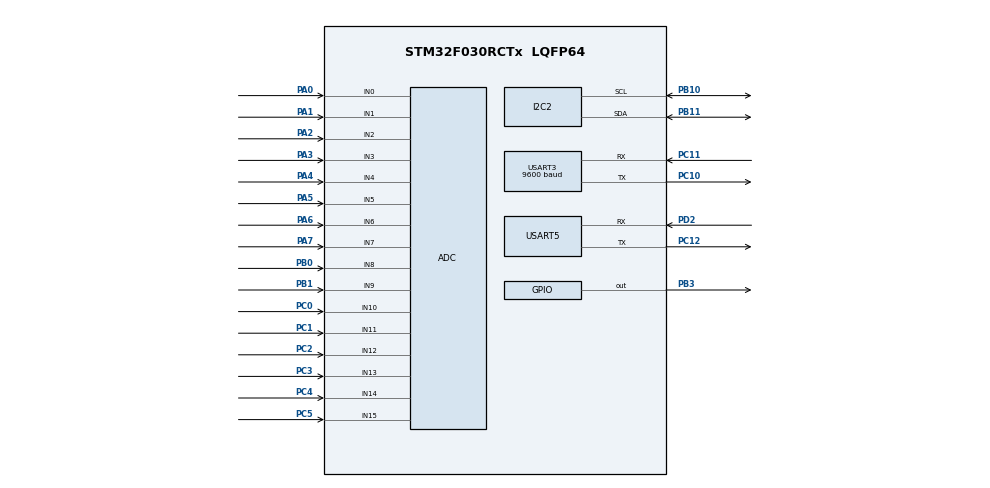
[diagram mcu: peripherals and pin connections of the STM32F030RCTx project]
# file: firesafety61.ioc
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ADC.ContinuousConvMode=ENABLE
ADC.DMAContinuousRequests=DISABLE
ADC.EOCSelection=ADC_EOC_SEQ_CONV
ADC.Overrun=ADC_OVR_DATA_OVERWRITTEN
Dma.ADC.0.Direction=DMA_PERIPH_TO_MEMORY
Dma.ADC.0.Instance=DMA1_Channel1
Dma.ADC.0.MemDataAlignment=DMA_MDATAALIGN_HALFWORD
Dma.ADC.0.MemInc=DMA_MINC_ENABLE
Dma.ADC.0.Mode=DMA_CIRCULAR
Dma.ADC.0.PeriphDataAlignment=DMA_PDATAALIGN_HALFWORD
Dma.ADC.0.PeriphInc=DMA_PINC_DISABLE
Dma.ADC.0.Priority=DMA_PRIORITY_LOW
Dma.Request0=ADC
Mcu.Family=STM32F0
Mcu.Name=STM32F030RCTx
Mcu.Package=LQFP64
NVIC.ADC1_IRQn=true\:0\:0\:false\:false\:true\:true\:true\:true
NVIC.DMA1_Channel1_IRQn=true\:0\:0\:false\:false\:true\:false\:true\:true
NVIC.TIM15_IRQn=true\:0\:0\:false\:false\:true\:true\:true\:true
NVIC.TIM6_IRQn=true\:0\:0\:false\:false\:true\:true\:true\:true
NVIC.USART3_6_IRQn=true\:0\:0\:false\:false\:true\:true\:true\:true
PA0.Mode=IN0
PA0.Signal=ADC_IN0
PA1.Mode=IN1
PA1.Signal=ADC_IN1
PA2.Mode=IN2
PA2.Signal=ADC_IN2
PA3.Mode=IN3
PA3.Signal=ADC_IN3
PA4.Mode=IN4
PA4.Signal=ADC_IN4
PA5.Mode=IN5
PA5.Signal=ADC_IN5
PA6.Mode=IN6
PA6.Signal=ADC_IN6
PA7.Mode=IN7
PA7.Signal=ADC_IN7
PB0.Mode=IN8
PB0.Signal=ADC_IN8
PB1.Mode=IN9
PB1.Signal=ADC_IN9
PB10.Mode=I2C
PB10.Signal=I2C2_SCL
PB11.Mode=I2C
PB11.Signal=I2C2_SDA
PB3.Signal=GPIO_Output
PC0.Mode=IN10
PC0.Signal=ADC_IN10
PC1.Mode=IN11
PC1.Signal=ADC_IN11
PC10.Mode=Asynchronous
PC10.Signal=USART3_TX
PC11.Mode=Asynchronous
PC11.Signal=USART3_RX
PC12.Mode=Asynchronous
PC12.Signal=USART5_TX
PC2.Mode=IN12
PC2.Signal=ADC_IN12
PC3.Mode=IN13
PC3.Signal=ADC_IN13
PC4.Mode=IN14
PC4.Signal=ADC_IN14
PC5.Mode=IN15
PC5.Signal=ADC_IN15
PD2.Mode=Asynchronous
PD2.Signal=USART5_RX
ProjectManager.HeapSize=0x200
ProjectManager.StackSize=0x400
ProjectManager.TargetToolchain=STM32CubeIDE
USART3.BaudRate=9600
USART3.VirtualMode-Asynchronous=VM_ASYNC
USART5.VirtualMode-Asynchronous=VM_ASYNC
VP_TIM15_VS_ClockSourceINT.Mode=Internal
VP_TIM6_VS_ClockSourceINT.Mode=Enable_Timer
board=custom

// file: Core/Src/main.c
/* USER CODE BEGIN Header */
/**
  ******************************************************************************
  * @file           : main.c
  * @brief          : Main program body
  ******************************************************************************
  * @attention
  *
  * Copyright (c) 2025 STMicroelectronics.
  * All rights reserved.
  *
  * This software is licensed under terms that can be found in the LICENSE file
  * in the root directory of this software component.
  * If no LICENSE file comes with this software, it is provided AS-IS.
  *
  ******************************************************************************
  */
/* USER CODE END Header */
#include "main.h"
#include "gsm.h"
#include "adc.h"
#include <stdio.h>
#include <string.h>
#include <stdlib.h>
#include<stdbool.h>
#include <math.h>
#include "EEPROM_LIB.h"

/* USER CODE BEGIN PTD */
volatile uint8_t save_calib_flag = 0;

Calibration_t calib;
SystemConfig_t systemConfig;

uint8_t cali_mode = 0;      // 0 = normal, 1 = calibration
char cali_type[8] = {0};    // store command type: "VR","VY","VB","IR","IY","IB"

volatile uint8_t average_ready = 0; // Flag when 40 samples are complete

float adc_AI_f[16] = {0.0};
float adc_f = 9.2;
float current_diff =0;
uint8_t imeireceived = 0;

volatile uint8_t refresh_rate_locked = 0;  // Flag to prevent premature switching back
volatile uint8_t fast_cycle_completed = 0; // Flag to track if fast cycle completed
/* USER CODE END PTD */

ADC_HandleTypeDef hadc;
DMA_HandleTypeDef hdma_adc;

I2C_HandleTypeDef hi2c2;

TIM_HandleTypeDef htim6;
TIM_HandleTypeDef htim15;

UART_HandleTypeDef huart3;
UART_HandleTypeDef huart5;

/* USER CODE BEGIN PV */

volatile uint8_t calib_value_pending = 0;
float pending_calib_value = 0.0;
char pending_calib_type[8] = {0};

uint16_t adc_values[16];

volatile uint8_t send_json_flag = 0;
volatile uint16_t timer_counter = 0;  ////CHANGED ON 25/09/2025

int imei_fetched = 0;
int strength = -1;

uint16_t delay = 300;
char uart_buf[64];

char imei[64];
char sms_msg[256];
char sms_buffer[512];
char gsm_time[32] = {0};
char json_string[1024];
uint8_t i;
int gsm_battery_voltage = -1;
int gsm_input_voltage = -1; // From external device

volatile uint8_t adc_read_flag = 0;
volatile uint8_t rms_calc_flag = 0;

uint16_t adc_values_all[16];  // All channels A0-A13

// RMS calculation arrays - store 40 samples (20ms worth)

uint16_t sample_index = 0;
float individual_rms[NUM_SLOW_CHANNELS] = {0};

//static uint16_t rms_counter = 0;

// Add variables for threshold-based refresh rate control
volatile uint8_t current_refresh_rate = 0;  // 0 = refreshTime1, 1 = refreshTime2
volatile uint8_t threshold_exceeded = 0;
volatile uint8_t sms_counter = 0;
volatile uint8_t check_A0_A9_flag = 0;

uint8_t exceeded = 0;
uint8_t exceeded1 = 0;
/* USER CODE END PV */

void SystemClock_Config(void);
static void MX_GPIO_Init(void);
static void MX_DMA_Init(void);
static void MX_ADC_Init(void);
static void MX_I2C2_Init(void);
static void MX_TIM6_Init(void);
static void MX_TIM15_Init(void);
static void MX_USART5_UART_Init(void);
static void MX_USART3_UART_Init(void);
void Parse_And_Store_Calibration(const char *cmd);
void Save_CalibrationEEPROM(void);
int Load_Calib_From_EEPROM(void);

/* USER CODE BEGIN 0 */

volatile uint8_t sms_flag = 0;

#define RX_BUFFER_SIZE 64
uint8_t uart_rx_buffer[RX_BUFFER_SIZE];
uint8_t uart_rx_index = 0;
char uart_cmd[32];

void calib_config(void)
{
	calib.A0_A9_fact = 1;
	calib.V_fact = 1;
	calib.I_fact = 1;

}

// Initialize default configuration
void Config_Init(void)
{
    strcpy(systemConfig.serverIP, "150.129.151.136");
    systemConfig.serverPort = 4300;
    systemConfig.refreshTime1 = 10; // Normal refresh rate (seconds)
    systemConfig.refreshTime2 = 20; // Fast refresh rate when threshold exceeded (seconds)
    systemConfig.threshold = 40;   // ADC threshold value
    strcpy(systemConfig.password, "12345");
}

void Handle_Command(const char *cmd)
{
    // Check for calibration mode commands
    if      (strncmp(cmd, "caliVR", 6) == 0) { cali_mode = 1; strcpy(cali_type, "VR"); }
    else if (strncmp(cmd, "caliVY", 6) == 0) { cali_mode = 1; strcpy(cali_type, "VY"); }
    else if (strncmp(cmd, "caliVB", 6) == 0) { cali_mode = 1; strcpy(cali_type, "VB"); }
    else if (strncmp(cmd, "caliIR", 6) == 0) { cali_mode = 1; strcpy(cali_type, "IR"); }
    else if (strncmp(cmd, "caliIY", 6) == 0) { cali_mode = 1; strcpy(cali_type, "IY"); }
    else if (strncmp(cmd, "caliIB", 6) == 0) { cali_mode = 1; strcpy(cali_type, "IB"); }

    else if (strncmp(cmd, "caliA0", 6) == 0) { cali_mode = 1; strcpy(cali_type, "A0"); }
    else if (strncmp(cmd, "caliA1", 6) == 0) { cali_mode = 1; strcpy(cali_type, "A1"); }
    else if (strncmp(cmd, "caliA2", 6) == 0) { cali_mode = 1; strcpy(cali_type, "A2"); }
    else if (strncmp(cmd, "caliA3", 6) == 0) { cali_mode = 1; strcpy(cali_type, "A3"); }
    else if (strncmp(cmd, "caliA4", 6) == 0) { cali_mode = 1; strcpy(cali_type, "A4"); }
    else if (strncmp(cmd, "caliA5", 6) == 0) { cali_mode = 1; strcpy(cali_type, "A5"); }
    else if (strncmp(cmd, "caliA6", 6) == 0) { cali_mode = 1; strcpy(cali_type, "A6"); }
    else if (strncmp(cmd, "caliA7", 6) == 0) { cali_mode = 1; strcpy(cali_type, "A7"); }
    else if (strncmp(cmd, "caliA8", 6) == 0) { cali_mode = 1; strcpy(cali_type, "A8"); }
    else if (strncmp(cmd, "caliA9", 6) == 0) { cali_mode = 1; strcpy(cali_type, "A9"); }

    else if (strncmp(cmd, "caliSTOP", 8) == 0) { cali_mode = 0; strcpy(cali_type, "");  }

    // Check for calibration value setting (format: TYPE:VALUE)
    else if (strchr(cmd, ':') != NULL)
    {
        Parse_And_Store_Calibration(cmd);
    }

    // Command to read current calibration values
    else if (strcmp(cmd, "READ_CALIB") == 0)
    {
        char calib_info[128];
        snprintf(calib_info, sizeof(calib_info),
                 "A0_A9_fact:%.4f V_fact:%.4f I_fact:%.4f\r\n",
                 calib.A0_A9_fact, calib.V_fact, calib.I_fact);
        HAL_UART_Transmit(&huart3, (uint8_t*)calib_info, strlen(calib_info), HAL_MAX_DELAY);
    }

    // Command to reset to default calibration
    else if (strcmp(cmd, "RESET_CALIB") == 0)
    {
        calib_config();
        //save_calibration_flag = 1;
        //Save_Calibration_To_EEPROM();
        const char *msg = "Calibration reset to defaults and saved\r\n";
        HAL_UART_Transmit(&huart3, (uint8_t*)msg, strlen(msg), HAL_MAX_DELAY);
    }
}

void UART3_Send_Cali_Data(void)
{
    char buffer[128];

    if      (strcmp(cali_type, "VR") == 0)
        snprintf(buffer, sizeof(buffer), "VR:%d\r\n", adc_average_m[0]);
    else if (strcmp(cali_type, "VY") == 0)
        snprintf(buffer, sizeof(buffer), "VY:%d\r\n", adc_average_m[2]);
    else if (strcmp(cali_type, "VB") == 0)
        snprintf(buffer, sizeof(buffer), "VB:%d\r\n", adc_average_m[4]);
    else if (strcmp(cali_type, "IR") == 0)
        snprintf(buffer, sizeof(buffer), "IR:%f\r\n", adc_average_F[1]);
    else if (strcmp(cali_type, "IY") == 0)
        snprintf(buffer, sizeof(buffer), "IY:%f\r\n", adc_average_F[3]);
    else if (strcmp(cali_type, "IB") == 0)
        snprintf(buffer, sizeof(buffer), "IB:%f\r\n", adc_average_F[5]);

    else if (strcmp(cali_type, "A0") == 0)
           snprintf(buffer, sizeof(buffer), "A0:%f\r\n", adc_AI_f[0]);
    else if (strcmp(cali_type, "A1") == 0)
	       snprintf(buffer, sizeof(buffer), "A1:%f\r\n", adc_AI_f[1]);
    else if (strcmp(cali_type, "A2") == 0)
	       snprintf(buffer, sizeof(buffer), "A2:%f\r\n", adc_AI_f[2]);
    else if (strcmp(cali_type, "A3") == 0)
	      snprintf(buffer, sizeof(buffer),  "A3:%f\r\n", adc_AI_f[3]);
    else if (strcmp(cali_type, "A4") == 0)
	      snprintf(buffer, sizeof(buffer),  "A4:%f\r\n", adc_AI_f[4]);

    else if (strcmp(cali_type, "A5") == 0)
           snprintf(buffer, sizeof(buffer), "A0:%f\r\n", adc_AI_f[5]);
    else if (strcmp(cali_type, "A6") == 0)
	       snprintf(buffer, sizeof(buffer), "A1:%f\r\n", adc_AI_f[6]);
    else if (strcmp(cali_type, "A7") == 0)
	       snprintf(buffer, sizeof(buffer), "A2:%f\r\n", adc_AI_f[7]);
    else if (strcmp(cali_type, "A8") == 0)
	      snprintf(buffer, sizeof(buffer),  "A3:%f\r\n", adc_AI_f[8]);
    else if (strcmp(cali_type, "A9") == 0)
	      snprintf(buffer, sizeof(buffer),  "A4:%f\r\n", adc_AI_f[9]);

    HAL_UART_Transmit(&huart3, (uint8_t*)buffer, strlen(buffer), HAL_MAX_DELAY);
}

// Replace Parse_And_Store_Calibration() function in main.c

void Parse_And_Store_Calibration(const char *cmd)
{
    float known_voltage = 0.0f;
    char type[8] = {0};
    float cal_factor = 0.0f;
    uint16_t adc_count = 0;

    // Parse command like "VR:5.000" (instrument's actual voltage)
    if (sscanf(cmd, "%[^:]:%f", type, &known_voltage) == 2)
    {
        // --- Voltage calibration ---
        if (strcmp(type, "VR") == 0)
        {
            adc_count = adc_average[0];
            cal_factor = known_voltage / adc_count;
            calib.V_fact = cal_factor;
        }
        else if (strcmp(type, "VY") == 0)
        {
            adc_count = adc_average[2];
            cal_factor = known_voltage / adc_count;
            calib.V_fact = cal_factor;
        }
        else if (strcmp(type, "VB") == 0)
        {
            adc_count = adc_average[4];
            cal_factor = known_voltage / adc_count;
            calib.V_fact = cal_factor;
        }

        // --- Current calibration ---
        else if (strcmp(type, "IR") == 0)
        {
            float adc_measured = adc_average[1];
            cal_factor = known_voltage / adc_measured;
            calib.I_fact = cal_factor;
        }
        else if (strcmp(type, "IY") == 0)
        {
            float adc_measured = adc_average[3];
            cal_factor = known_voltage / adc_measured;
            calib.I_fact = cal_factor;
        }
        else if (strcmp(type, "IB") == 0)
        {
            float adc_measured = adc_average[5];
            cal_factor = known_voltage / adc_measured;
            calib.I_fact = cal_factor;
        }

        // --- Analog input calibration (A0–A9) ---
        // CRITICAL FIX: Apply the SAME offset subtraction used in display!
        else if (strncmp(type, "A", 1) == 0)
        {
            int ch = atoi(&type[1]);
            if (ch >= 0 && ch <= 9)
            {
                // FIXED: Use the same formula as in Create_JSON_String
                float adc_adjusted = (float)(adc_values_all[ch] - 4);

                // Calculate calibration factor
                cal_factor = known_voltage / adc_adjusted;
                calib.A0_A9_fact = cal_factor;

                // Debug output to verify calculation
                char debug_msg[128];
                snprintf(debug_msg, sizeof(debug_msg),
                         "A%d: Raw=%d, Adj=%.2f, Known=%.2f, Factor=%.6f\r\n",
                         ch, adc_values_all[ch], adc_adjusted, known_voltage, cal_factor);
                HAL_UART_Transmit(&huart3, (uint8_t*)debug_msg, strlen(debug_msg), HAL_MAX_DELAY);
            }
        }

        // --- Save flag trigger ---
        save_calib_flag = 1;

        // --- Confirmation message ---
        char confirm_msg[64];
        snprintf(confirm_msg, sizeof(confirm_msg),
                 "Calib %s set (factor=%.6f) and saved\r\n",
                 type, cal_factor);
        HAL_UART_Transmit(&huart3, (uint8_t*)confirm_msg, strlen(confirm_msg), HAL_MAX_DELAY);
    }
    else
    {
        const char *error_msg = "Invalid format. Use TYPE:VOLTAGE (e.g., VR:5.000)\r\n";
        HAL_UART_Transmit(&huart3, (uint8_t*)error_msg, strlen(error_msg), HAL_MAX_DELAY);
    }
}

void HAL_ADC_ConvCpltCallback(ADC_HandleTypeDef* hadc)
{
	ADC_Process_Conversion_Complete();
}

// Modified JSON creation function - replace your existing Create_JSON_String
void Create_JSON_String(void)
{
	 for (uint8_t ch = 0; ch < 10; ch++)
	 {
	    adc_AI_f[ch] = ((float)(adc_values_all[ch]-4)) * calib.A0_A9_fact;
	 }

    // Read GSM status
	 //if(imeireceived == 0)
    gsm_get_imei();
    gsm_get_time_from_module();
    int sig_strength = signal_strength();

    // Create JSON with raw values for A0-A7 and averages for A8-A15
    snprintf(json_string, sizeof(json_string),
        "{"
        "\"imei\":\"%s\","
        "\"timestamp\":\"%s\","
        "\"signal_strength\":%d,"
        "\"adc_channels\":{"
            "\"A0\":%.2f,"
            "\"A1\":%.2f,"
            "\"A2\":%.2f,"
            "\"A3\":%.2f,"
            "\"A4\":%.2f,"
            "\"A5\":%.2f,"
            "\"A6\":%.2f,"
            "\"A7\":%.2f,"
            "\"A8\":%.2f,"
            "\"A9\":%.2f,"
            "\"VR\":%d,"
            "\"IA\":%.2f,"
            "\"VY\":%d,"
            "\"IB\":%.2f,"
            "\"VB\":%d,"
            "\"IC\":%.2f"
        "}"
        "}",
        imei, gsm_time,
		sig_strength,
		adc_AI_f[0], adc_AI_f[1], adc_AI_f[2], adc_AI_f[3],
		adc_AI_f[4], adc_AI_f[5], adc_AI_f[6], adc_AI_f[7],
		adc_AI_f[8], adc_AI_f[9],
        // Average values for A8-A15
		adc_average_m[0], adc_average_F[1], adc_average_m[2], adc_average_F[3],
		adc_average_m[4], adc_average_F[5]
    );
    //GSM_Debug_Number("JSON Length", strlen(json_string));
}

void HAL_UART_RxCpltCallback(UART_HandleTypeDef *huart)
{
    if (huart->Instance == USART3)   // if from UART3
    {
        char c = uart_rx_buffer[uart_rx_index];

        if (c == '\n' || c == '\r')  // End of command
        {
            uart_cmd[uart_rx_index] = '\0'; // null terminate
            Handle_Command(uart_cmd);       // process command
            uart_rx_index = 0;              // reset for next command
        }
        else
        {
            if (uart_rx_index < (RX_BUFFER_SIZE - 1))
            {
                uart_cmd[uart_rx_index++] = c;
            }
        }

        // re-enable reception
        HAL_UART_Receive_IT(&huart3, &uart_rx_buffer[uart_rx_index], 1);
    }
}

float mul = 0.19;

void HAL_TIM_PeriodElapsedCallback(TIM_HandleTypeDef *htim)
{
    if (htim->Instance == TIM6)
    {
        ADC_Process_Timer_Interrupt();
    }

    if (htim->Instance == TIM15)
    {
        timer_counter++;
        sms_counter++;

        // Use dynamic refresh rate based on current mode
        uint16_t active_refresh_time = (current_refresh_rate == 0) ?
                                       systemConfig.refreshTime1 :
                                       systemConfig.refreshTime2;

        // Check if it's time to send JSON
        if (timer_counter >= active_refresh_time)
        {
            send_json_flag = 1;
            timer_counter = 0;  // Reset for next cycle

            // Mark that a complete cycle finished in fast mode
            // This flag will be used to count actual transmitted cycles
            if (current_refresh_rate == 1)
            {
                fast_cycle_completed = 1;
            }
        }

        if (sms_counter >= 60)
        {
            sms_flag = 1;
            sms_counter = 0;
        }
    }
}

/* USER CODE END 0 */

int main(void)
{

  /* MCU Configuration--------------------------------------------------------*/

  /* Reset of all peripherals, Initializes the Flash interface and the Systick. */
  HAL_Init();

  /* Configure the system clock */
  SystemClock_Config();

  /* Initialize all configured peripherals */
  MX_GPIO_Init();
  MX_DMA_Init();
  MX_ADC_Init();
  MX_I2C2_Init();
  MX_TIM6_Init();
  MX_TIM15_Init();
  MX_USART5_UART_Init();
  MX_USART3_UART_Init();
  /* USER CODE BEGIN 2 */

  Load_Config_From_EEPROM();
  Load_Calib_From_EEPROM();
  GSM_PowerOn();
  //GSM_SetBaudRate(9600);
  gsm_get_imei();
  HAL_Delay(5000);
  HAL_ADCEx_Calibration_Start(&hadc);
  HAL_UART_Receive_IT(&huart3, &uart_rx_buffer[uart_rx_index], 1);

  HAL_TIM_Base_Start_IT(&htim6);
  HAL_TIM_Base_Start_IT(&htim15);

  /* USER CODE END 2 */

  /* Infinite loop */
  /* USER CODE BEGIN WHILE */
  while (1)

  {

	  //GSM_SetBaudRate(9600);
	    //Check_Incoming_SMS_Improved();

	    if ( save_calib_flag)
	    {
	    	 save_calib_flag = 0;
	    	 Save_CalibrationEEPROM();

	    }

      if (sms_flag)
      {
          sms_flag = 0;  // Clear the flag
          Check_Incoming_SMS_Improved();
      }
      if (cali_mode == 0)
      {
             // Normal operation
             if (check_A0_A9_flag)
             {
                 check_A0_A9_flag = 0;
                 Check_Fast_Channels_A0_A9();
                 Update_Refresh_Rate_From_Flags();
             }

             if (average_ready)
             {
                 Check_Slow_Channels_A10_A15();
                 Update_Refresh_Rate_From_Flags();

             }

             if (send_json_flag && average_ready)
             {
                 send_json_flag = 0;
                 average_ready = 0;
                 GPRS_Send_JSON();
                //Update_Refresh_Rate_From_Flags();
             }
      }
	  else
	  {
		 // Calibration mode → only send raw ADC via UART3
		 if (average_ready)
		 {
			 average_ready = 0;
			 UART3_Send_Cali_Data();
		 }
	  }
    /* USER CODE END WHILE */

  }
}

void SystemClock_Config(void)
{
  RCC_OscInitTypeDef RCC_OscInitStruct = {0};
  RCC_ClkInitTypeDef RCC_ClkInitStruct = {0};

  /** Initializes the RCC Oscillators according to the specified parameters
  * in the RCC_OscInitTypeDef structure.
  */
  RCC_OscInitStruct.OscillatorType = RCC_OSCILLATORTYPE_HSI|RCC_OSCILLATORTYPE_HSI14;
  RCC_OscInitStruct.HSIState = RCC_HSI_ON;
  RCC_OscInitStruct.HSI14State = RCC_HSI14_ON;
  RCC_OscInitStruct.HSICalibrationValue = RCC_HSICALIBRATION_DEFAULT;
  RCC_OscInitStruct.HSI14CalibrationValue = 16;
  RCC_OscInitStruct.PLL.PLLState = RCC_PLL_NONE;
  if (HAL_RCC_OscConfig(&RCC_OscInitStruct) != HAL_OK)
  {
    Error_Handler();
  }

  /** Initializes the CPU, AHB and APB buses clocks
  */
  RCC_ClkInitStruct.ClockType = RCC_CLOCKTYPE_HCLK|RCC_CLOCKTYPE_SYSCLK
                              |RCC_CLOCKTYPE_PCLK1;
  RCC_ClkInitStruct.SYSCLKSource = RCC_SYSCLKSOURCE_HSI;
  RCC_ClkInitStruct.AHBCLKDivider = RCC_SYSCLK_DIV1;
  RCC_ClkInitStruct.APB1CLKDivider = RCC_HCLK_DIV1;

  if (HAL_RCC_ClockConfig(&RCC_ClkInitStruct, FLASH_LATENCY_0) != HAL_OK)
  {
    Error_Handler();
  }
}

static void MX_ADC_Init(void)
{

  ADC_ChannelConfTypeDef sConfig = {0};

  /** Configure the global features of the ADC (Clock, Resolution, Data Alignment and number of conversion)
  */
  hadc.Instance = ADC1;
  hadc.Init.ClockPrescaler = ADC_CLOCK_ASYNC_DIV1;
  hadc.Init.Resolution = ADC_RESOLUTION_12B;
  hadc.Init.DataAlign = ADC_DATAALIGN_RIGHT;
  hadc.Init.ScanConvMode = ADC_SCAN_DIRECTION_FORWARD;
  hadc.Init.EOCSelection = ADC_EOC_SEQ_CONV;
  hadc.Init.LowPowerAutoWait = DISABLE;
  hadc.Init.LowPowerAutoPowerOff = DISABLE;
  hadc.Init.ContinuousConvMode = ENABLE;
  hadc.Init.DiscontinuousConvMode = DISABLE;
  hadc.Init.ExternalTrigConv = ADC_SOFTWARE_START;
  hadc.Init.ExternalTrigConvEdge = ADC_EXTERNALTRIGCONVEDGE_NONE;
  hadc.Init.DMAContinuousRequests = DISABLE;
  hadc.Init.Overrun = ADC_OVR_DATA_OVERWRITTEN;
  if (HAL_ADC_Init(&hadc) != HAL_OK)
  {
    Error_Handler();
  }

  /** Configure for the selected ADC regular channel to be converted.
  */
  sConfig.Channel = ADC_CHANNEL_0;
  sConfig.Rank = ADC_RANK_CHANNEL_NUMBER;
  sConfig.SamplingTime = ADC_SAMPLETIME_1CYCLE_5;
  if (HAL_ADC_ConfigChannel(&hadc, &sConfig) != HAL_OK)
  {
    Error_Handler();
  }

  /** Configure for the selected ADC regular channel to be converted.
  */
  sConfig.Channel = ADC_CHANNEL_1;
  if (HAL_ADC_ConfigChannel(&hadc, &sConfig) != HAL_OK)
  {
    Error_Handler();
  }

  /** Configure for the selected ADC regular channel to be converted.
  */
  sConfig.Channel = ADC_CHANNEL_2;
  if (HAL_ADC_ConfigChannel(&hadc, &sConfig) != HAL_OK)
  {
    Error_Handler();
  }

  /** Configure for the selected ADC regular channel to be converted.
  */
  sConfig.Channel = ADC_CHANNEL_3;
  if (HAL_ADC_ConfigChannel(&hadc, &sConfig) != HAL_OK)
  {
    Error_Handler();
  }

  /** Configure for the selected ADC regular channel to be converted.
  */
  sConfig.Channel = ADC_CHANNEL_4;
  if (HAL_ADC_ConfigChannel(&hadc, &sConfig) != HAL_OK)
  {
    Error_Handler();
  }

  /** Configure for the selected ADC regular channel to be converted.
  */
  sConfig.Channel = ADC_CHANNEL_5;
  if (HAL_ADC_ConfigChannel(&hadc, &sConfig) != HAL_OK)
  {
    Error_Handler();
  }

  /** Configure for the selected ADC regular channel to be converted.
  */
  sConfig.Channel = ADC_CHANNEL_6;
  if (HAL_ADC_ConfigChannel(&hadc, &sConfig) != HAL_OK)
  {
    Error_Handler();
  }

  /** Configure for the selected ADC regular channel to be converted.
  */
  sConfig.Channel = ADC_CHANNEL_7;
  if (HAL_ADC_ConfigChannel(&hadc, &sConfig) != HAL_OK)
  {
    Error_Handler();
  }

  /** Configure for the selected ADC regular channel to be converted.
  */
  sConfig.Channel = ADC_CHANNEL_8;
  if (HAL_ADC_ConfigChannel(&hadc, &sConfig) != HAL_OK)
  {
    Error_Handler();
  }

  /** Configure for the selected ADC regular channel to be converted.
  */
  sConfig.Channel = ADC_CHANNEL_9;
  if (HAL_ADC_ConfigChannel(&hadc, &sConfig) != HAL_OK)
  {
    Error_Handler();
  }

  /** Configure for the selected ADC regular channel to be converted.
  */
  sConfig.Channel = ADC_CHANNEL_10;
  if (HAL_ADC_ConfigChannel(&hadc, &sConfig) != HAL_OK)
  {
    Error_Handler();
  }

  /** Configure for the selected ADC regular channel to be converted.
  */
  sConfig.Channel = ADC_CHANNEL_11;
  if (HAL_ADC_ConfigChannel(&hadc, &sConfig) != HAL_OK)
  {
    Error_Handler();
  }

  /** Configure for the selected ADC regular channel to be converted.
  */
  sConfig.Channel = ADC_CHANNEL_12;
  if (HAL_ADC_ConfigChannel(&hadc, &sConfig) != HAL_OK)
  {
    Error_Handler();
  }

  /** Configure for the selected ADC regular channel to be converted.
  */
  sConfig.Channel = ADC_CHANNEL_13;
  if (HAL_ADC_ConfigChannel(&hadc, &sConfig) != HAL_OK)
  {
    Error_Handler();
  }

  /** Configure for the selected ADC regular channel to be converted.
  */
  sConfig.Channel = ADC_CHANNEL_14;
  if (HAL_ADC_ConfigChannel(&hadc, &sConfig) != HAL_OK)
  {
    Error_Handler();
  }

  /** Configure for the selected ADC regular channel to be converted.
  */
  sConfig.Channel = ADC_CHANNEL_15;
  if (HAL_ADC_ConfigChannel(&hadc, &sConfig) != HAL_OK)
  {
    Error_Handler();
  }

}

static void MX_I2C2_Init(void)
{

  hi2c2.Instance = I2C2;
  hi2c2.Init.Timing = 0x2000090E;
  hi2c2.Init.OwnAddress1 = 0;
  hi2c2.Init.AddressingMode = I2C_ADDRESSINGMODE_7BIT;
  hi2c2.Init.DualAddressMode = I2C_DUALADDRESS_DISABLE;
  hi2c2.Init.OwnAddress2 = 0;
  hi2c2.Init.OwnAddress2Masks = I2C_OA2_NOMASK;
  hi2c2.Init.GeneralCallMode = I2C_GENERALCALL_DISABLE;
  hi2c2.Init.NoStretchMode = I2C_NOSTRETCH_DISABLE;
  if (HAL_I2C_Init(&hi2c2) != HAL_OK)
  {
    Error_Handler();
  }

  /** Configure Analogue filter
  */
  if (HAL_I2CEx_ConfigAnalogFilter(&hi2c2, I2C_ANALOGFILTER_ENABLE) != HAL_OK)
  {
    Error_Handler();
  }

  /** Configure Digital filter
  */
  if (HAL_I2CEx_ConfigDigitalFilter(&hi2c2, 0) != HAL_OK)
  {
    Error_Handler();
  }

}

static void MX_TIM6_Init(void)
{

  htim6.Instance = TIM6;
  htim6.Init.Prescaler = 7;
  htim6.Init.CounterMode = TIM_COUNTERMODE_UP;
  htim6.Init.Period =499;
  htim6.Init.AutoReloadPreload = TIM_AUTORELOAD_PRELOAD_DISABLE;
  if (HAL_TIM_Base_Init(&htim6) != HAL_OK)
  {
    Error_Handler();
  }

}

static void MX_TIM15_Init(void)
{

  TIM_ClockConfigTypeDef sClockSourceConfig = {0};
  TIM_MasterConfigTypeDef sMasterConfig = {0};

  htim15.Instance = TIM15;
  htim15.Init.Prescaler = 7999;
  htim15.Init.CounterMode = TIM_COUNTERMODE_UP;
  htim15.Init.Period = 999;
  htim15.Init.ClockDivision = TIM_CLOCKDIVISION_DIV1;
  htim15.Init.RepetitionCounter = 0;
  htim15.Init.AutoReloadPreload = TIM_AUTORELOAD_PRELOAD_ENABLE;
  if (HAL_TIM_Base_Init(&htim15) != HAL_OK)
  {
    Error_Handler();
  }
  sClockSourceConfig.ClockSource = TIM_CLOCKSOURCE_INTERNAL;
  if (HAL_TIM_ConfigClockSource(&htim15, &sClockSourceConfig) != HAL_OK)
  {
    Error_Handler();
  }
  sMasterConfig.MasterOutputTrigger = TIM_TRGO_RESET;
  sMasterConfig.MasterSlaveMode = TIM_MASTERSLAVEMODE_DISABLE;
  if (HAL_TIMEx_MasterConfigSynchronization(&htim15, &sMasterConfig) != HAL_OK)
  {
    Error_Handler();
  }

}

static void MX_USART3_UART_Init(void)
{

  huart3.Instance = USART3;
  huart3.Init.BaudRate = 9600;
  huart3.Init.WordLength = UART_WORDLENGTH_8B;
  huart3.Init.StopBits = UART_STOPBITS_1;
  huart3.Init.Parity = UART_PARITY_NONE;
  huart3.Init.Mode = UART_MODE_TX_RX;
  huart3.Init.HwFlowCtl = UART_HWCONTROL_NONE;
  huart3.Init.OverSampling = UART_OVERSAMPLING_16;
  huart3.Init.OneBitSampling = UART_ONE_BIT_SAMPLE_DISABLE;
  huart3.AdvancedInit.AdvFeatureInit = UART_ADVFEATURE_NO_INIT;
  if (HAL_UART_Init(&huart3) != HAL_OK)
  {
    Error_Handler();
  }

}

static void MX_USART5_UART_Init(void)
{

  huart5.Instance = USART5;
  huart5.Init.BaudRate = 9600;
  huart5.Init.WordLength = UART_WORDLENGTH_8B;
  huart5.Init.StopBits = UART_STOPBITS_1;
  huart5.Init.Parity = UART_PARITY_NONE;
  huart5.Init.Mode = UART_MODE_TX_RX;
  huart5.Init.HwFlowCtl = UART_HWCONTROL_NONE;
  huart5.Init.OverSampling = UART_OVERSAMPLING_16;
  huart5.Init.OneBitSampling = UART_ONE_BIT_SAMPLE_DISABLE;
  huart5.AdvancedInit.AdvFeatureInit = UART_ADVFEATURE_NO_INIT;
  if (HAL_UART_Init(&huart5) != HAL_OK)
  {
    Error_Handler();
  }

}

static void MX_DMA_Init(void)
{

  /* DMA controller clock enable */
  __HAL_RCC_DMA1_CLK_ENABLE();

  /* DMA interrupt init */
  /* DMA1_Channel1_IRQn interrupt configuration */
  HAL_NVIC_SetPriority(DMA1_Channel1_IRQn, 0, 0);
  HAL_NVIC_EnableIRQ(DMA1_Channel1_IRQn);

}

static void MX_GPIO_Init(void)
{
  GPIO_InitTypeDef GPIO_InitStruct = {0};

  /* GPIO Ports Clock Enable */
  __HAL_RCC_GPIOC_CLK_ENABLE();
  __HAL_RCC_GPIOA_CLK_ENABLE();
  __HAL_RCC_GPIOB_CLK_ENABLE();
  __HAL_RCC_GPIOD_CLK_ENABLE();

  /*Configure GPIO pin Output Level */
  HAL_GPIO_WritePin(GPIOB, GPIO_PIN_3, GPIO_PIN_RESET);

  /*Configure GPIO pin : PB3 */
  GPIO_InitStruct.Pin = GPIO_PIN_3;
  GPIO_InitStruct.Mode = GPIO_MODE_OUTPUT_PP;
  GPIO_InitStruct.Pull = GPIO_NOPULL;
  GPIO_InitStruct.Speed = GPIO_SPEED_FREQ_LOW;
  HAL_GPIO_Init(GPIOB, &GPIO_InitStruct);

}

void Error_Handler(void)
{
  __disable_irq();
  while (1)
  {
  }
}
